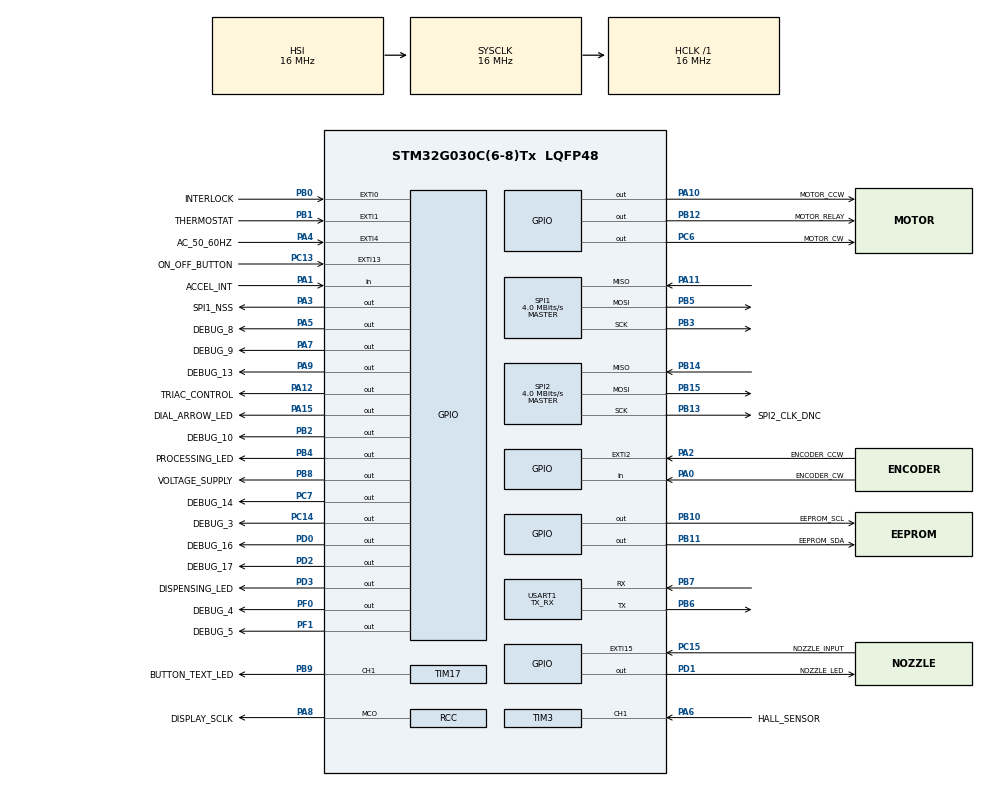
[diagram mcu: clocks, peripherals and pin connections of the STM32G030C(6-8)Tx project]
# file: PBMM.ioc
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Dma.Request0=SPI2_TX
Dma.Request1=SPI1_RX
Dma.Request2=TIM17_UP
Dma.SPI1_RX.1.Direction=DMA_PERIPH_TO_MEMORY
Dma.SPI1_RX.1.EventEnable=DISABLE
Dma.SPI1_RX.1.Instance=DMA1_Channel1
Dma.SPI1_RX.1.MemDataAlignment=DMA_MDATAALIGN_BYTE
Dma.SPI1_RX.1.MemInc=DMA_MINC_ENABLE
Dma.SPI1_RX.1.Mode=DMA_NORMAL
Dma.SPI1_RX.1.PeriphDataAlignment=DMA_PDATAALIGN_BYTE
Dma.SPI1_RX.1.PeriphInc=DMA_PINC_DISABLE
Dma.SPI1_RX.1.Polarity=HAL_DMAMUX_REQ_GEN_RISING
Dma.SPI1_RX.1.Priority=DMA_PRIORITY_LOW
Dma.SPI1_RX.1.RequestNumber=1
Dma.SPI1_RX.1.SignalID=NONE
Dma.SPI1_RX.1.SyncEnable=DISABLE
Dma.SPI1_RX.1.SyncPolarity=HAL_DMAMUX_SYNC_NO_EVENT
Dma.SPI1_RX.1.SyncRequestNumber=1
Dma.SPI1_RX.1.SyncSignalID=NONE
Dma.SPI2_TX.0.Direction=DMA_MEMORY_TO_PERIPH
Dma.SPI2_TX.0.EventEnable=DISABLE
Dma.SPI2_TX.0.Instance=DMA1_Channel2
Dma.SPI2_TX.0.MemDataAlignment=DMA_MDATAALIGN_BYTE
Dma.SPI2_TX.0.MemInc=DMA_MINC_ENABLE
Dma.SPI2_TX.0.Mode=DMA_NORMAL
Dma.SPI2_TX.0.PeriphDataAlignment=DMA_PDATAALIGN_BYTE
Dma.SPI2_TX.0.PeriphInc=DMA_PINC_DISABLE
Dma.SPI2_TX.0.Polarity=HAL_DMAMUX_REQ_GEN_RISING
Dma.SPI2_TX.0.Priority=DMA_PRIORITY_LOW
Dma.SPI2_TX.0.RequestNumber=1
Dma.SPI2_TX.0.SignalID=NONE
Dma.SPI2_TX.0.SyncEnable=DISABLE
Dma.SPI2_TX.0.SyncPolarity=HAL_DMAMUX_SYNC_NO_EVENT
Dma.SPI2_TX.0.SyncRequestNumber=1
Dma.SPI2_TX.0.SyncSignalID=NONE
Dma.TIM17_UP.2.Direction=DMA_MEMORY_TO_PERIPH
Dma.TIM17_UP.2.EventEnable=DISABLE
Dma.TIM17_UP.2.Instance=DMA1_Channel3
Dma.TIM17_UP.2.MemDataAlignment=DMA_MDATAALIGN_BYTE
Dma.TIM17_UP.2.MemInc=DMA_MINC_ENABLE
Dma.TIM17_UP.2.Mode=DMA_CIRCULAR
Dma.TIM17_UP.2.PeriphDataAlignment=DMA_PDATAALIGN_HALFWORD
Dma.TIM17_UP.2.PeriphInc=DMA_PINC_DISABLE
Dma.TIM17_UP.2.Polarity=HAL_DMAMUX_REQ_GEN_RISING
Dma.TIM17_UP.2.Priority=DMA_PRIORITY_LOW
Dma.TIM17_UP.2.RequestNumber=1
Dma.TIM17_UP.2.SignalID=NONE
Dma.TIM17_UP.2.SyncEnable=DISABLE
Dma.TIM17_UP.2.SyncPolarity=HAL_DMAMUX_SYNC_NO_EVENT
Dma.TIM17_UP.2.SyncRequestNumber=1
Dma.TIM17_UP.2.SyncSignalID=NONE
Mcu.Family=STM32G0
Mcu.Name=STM32G030C(6-8)Tx
Mcu.Package=LQFP48
NVIC.DMA1_Channel1_IRQn=true\:0\:0\:false\:false\:true\:true\:true\:true
NVIC.EXTI0_1_IRQn=true\:0\:0\:false\:false\:true\:true\:true\:true
NVIC.EXTI2_3_IRQn=true\:0\:0\:false\:false\:true\:true\:true\:true
NVIC.EXTI4_15_IRQn=true\:0\:0\:false\:false\:true\:true\:true\:true
NVIC.TIM14_IRQn=true\:0\:0\:false\:false\:true\:true\:true\:true
NVIC.USART1_IRQn=true\:0\:0\:false\:false\:true\:true\:true\:true
PA0.GPIO_Label=ENCODER_CW
PA0.Signal=GPIO_Input
PA1.GPIO_Label=ACCEL_INT
PA1.Signal=GPIO_Input
PA10.GPIO_Label=MOTOR_CCW
PA10.Signal=GPIO_Output
PA11\ [PA9].Mode=Full_Duplex_Master
PA11\ [PA9].Signal=SPI1_MISO
PA12\ [PA10].GPIO_Label=TRIAC_CONTROL
PA12\ [PA10].Signal=GPIO_Output
PA13.Mode=Serial_Wire
PA13.Signal=SYS_SWDIO
PA14-BOOT0.Mode=Serial_Wire
PA14-BOOT0.Signal=SYS_SWCLK
PA15.GPIO_Label=DIAL_ARROW_LED
PA15.Signal=GPIO_Output
PA2.GPIO_Label=ENCODER_CCW
PA2.GPIO_ModeDefaultEXTI=GPIO_MODE_IT_RISING_FALLING
PA2.Signal=GPXTI2
PA3.GPIO_Label=SPI1_NSS
PA3.GPIO_Speed=GPIO_SPEED_FREQ_HIGH
PA3.PinState=GPIO_PIN_RESET
PA3.Signal=GPIO_Output
PA4.GPIO_Label=AC_50_60HZ
PA4.GPIO_ModeDefaultEXTI=GPIO_MODE_IT_FALLING
PA4.GPIO_PuPd=GPIO_NOPULL
PA4.Signal=GPXTI4
PA5.GPIO_Label=DEBUG_8
PA5.Signal=GPIO_Output
PA6.GPIO_Label=HALL_SENSOR
PA6.Signal=S_TIM3_CH1
PA7.GPIO_Label=DEBUG_9
PA7.Signal=GPIO_Output
PA8.GPIO_Label=DISPLAY_SCLK
PA8.GPIO_Speed=GPIO_SPEED_FREQ_HIGH
PA8.Mode=Clock-out
PA8.Signal=RCC_MCO
PA9.GPIO_Label=DEBUG_13
PA9.Signal=GPIO_Output
PB0.GPIO_Label=INTERLOCK
PB0.GPIO_ModeDefaultEXTI=GPIO_MODE_IT_RISING_FALLING
PB0.Signal=GPXTI0
PB1.GPIO_Label=THERMOSTAT
PB1.GPIO_ModeDefaultEXTI=GPIO_MODE_IT_RISING
PB1.Signal=GPXTI1
PB10.GPIO_Label=EEPROM_SCL
PB10.Signal=GPIO_Output
PB11.GPIO_Label=EEPROM_SDA
PB11.Signal=GPIO_Output
PB12.GPIO_Label=MOTOR_RELAY
PB12.Signal=GPIO_Output
PB13.GPIO_Label=SPI2_CLK_DNC
PB13.Mode=Full_Duplex_Master
PB13.Signal=SPI2_SCK
PB14.GPIO_PuPd=GPIO_NOPULL
PB14.Mode=Full_Duplex_Master
PB14.Signal=SPI2_MISO
PB15.GPIO_Speed=GPIO_SPEED_FREQ_MEDIUM
PB15.Mode=Full_Duplex_Master
PB15.Signal=SPI2_MOSI
PB2.GPIO_Label=DEBUG_10
PB2.Signal=GPIO_Output
PB3.Mode=Full_Duplex_Master
PB3.Signal=SPI1_SCK
PB4.GPIO_Label=PROCESSING_LED
PB4.Signal=GPIO_Output
PB5.Mode=Full_Duplex_Master
PB5.Signal=SPI1_MOSI
PB6.Mode=Asynchronous
PB6.Signal=USART1_TX
PB7.Mode=Asynchronous
PB7.Signal=USART1_RX
PB8.GPIO_Label=VOLTAGE_SUPPLY
PB8.Signal=GPIO_Output
PB9.GPIO_Label=BUTTON_TEXT_LED
PB9.Signal=S_TIM17_CH1
PC13.GPIO_Label=ON_OFF_BUTTON
PC13.GPIO_ModeDefaultEXTI=GPIO_MODE_IT_FALLING
PC13.Signal=GPXTI13
PC14-OSC32_IN\ (PC14).GPIO_Label=DEBUG_3
PC14-OSC32_IN\ (PC14).Signal=GPIO_Output
PC15-OSC32_OUT\ (PC15).GPIO_Label=NOZZLE_INPUT
PC15-OSC32_OUT\ (PC15).GPIO_ModeDefaultEXTI=GPIO_MODE_IT_RISING_FALLING
PC15-OSC32_OUT\ (PC15).Signal=GPXTI15
PC6.GPIO_Label=MOTOR_CW
PC6.Signal=GPIO_Output
PC7.GPIO_Label=DEBUG_14
PC7.Signal=GPIO_Output
PD0.GPIO_Label=DEBUG_16
PD0.Signal=GPIO_Output
PD1.GPIO_Label=NOZZLE_LED
PD1.Signal=GPIO_Output
PD2.GPIO_Label=DEBUG_17
PD2.Signal=GPIO_Output
PD3.GPIO_Label=DISPENSING_LED
PD3.Signal=GPIO_Output
PF0-OSC_IN\ (PF0).GPIO_Label=DEBUG_4
PF0-OSC_IN\ (PF0).Signal=GPIO_Output
PF1-OSC_OUT\ (PF1).GPIO_Label=DEBUG_5
PF1-OSC_OUT\ (PF1).Signal=GPIO_Output
ProjectManager.HeapSize=0x0
ProjectManager.StackSize=0x200
ProjectManager.TargetToolchain=STM32CubeIDE
RCC.ADCFreq_Value=16000000
RCC.AHBFreq_Value=16000000
RCC.CortexFreq_Value=16000000
RCC.EXTERNAL_CLOCK_VALUE=12288000
RCC.HCLKFreq_Value=16000000
RCC.HSE_VALUE=8000000
RCC.HSI_VALUE=16000000
RCC.LSE_VALUE=32768
RCC.RCC_MCODiv=RCC_MCODIV_8
RCC.SYSCLKFreq_VALUE=16000000
RCC.VCOOutputFreq_Value=128000000
SH.S_TIM17_CH1.0=TIM17_CH1,PWM Generation1 CH1
SH.S_TIM3_CH1.0=TIM3_CH1,TriggerSource_TI1FP1
SPI1.BaudRatePrescaler=SPI_BAUDRATEPRESCALER_4
SPI1.CalculateBaudRate=4.0 MBits/s
SPI1.Direction=SPI_DIRECTION_2LINES
SPI1.Mode=SPI_MODE_MASTER
SPI1.NSSPMode=SPI_NSS_PULSE_DISABLE
SPI1.VirtualType=VM_MASTER
SPI2.BaudRatePrescaler=SPI_BAUDRATEPRESCALER_4
SPI2.CalculateBaudRate=4.0 MBits/s
SPI2.Direction=SPI_DIRECTION_2LINES
SPI2.Mode=SPI_MODE_MASTER
SPI2.NSSPMode=SPI_NSS_PULSE_DISABLE
SPI2.VirtualType=VM_MASTER
TIM1.Channel-Input_Capture1_from_TRC=TIM_CHANNEL_1
TIM1.Prescaler=159
TIM14.Period=199
TIM14.Prescaler=15
TIM17.AutoReloadPreload=TIM_AUTORELOAD_PRELOAD_DISABLE
TIM17.Channel=TIM_CHANNEL_1
TIM17.Period=249
TIM17.Prescaler=15
TIM3.TIM_MasterOutputTrigger=TIM_TRGO_UPDATE
USART1.Mode=MODE_TX_RX
USART1.VirtualMode-Asynchronous=VM_ASYNC
VP_IWDG_VS_IWDG.Mode=IWDG_Activate
VP_TIM14_VS_ClockSourceINT.Mode=Enable_Timer
VP_TIM17_VS_ClockSourceINT.Mode=Enable_Timer
VP_TIM1_VS_CH1.Mode=Input_Capture1_from_TRC
VP_TIM1_VS_ClockSourceINT.Mode=Internal
VP_TIM1_VS_ClockSourceITR.Mode=TriggerSource_ITR2
VP_TIM1_VS_ControllerModeCombinedResetTrigger.Mode=Combined_Reset_Trigger_Mode
VP_TIM1_VS_OPM.Mode=OPM_bit
VP_TIM3_VS_ControllerModeClock.Mode=Clock Mode
board=custom

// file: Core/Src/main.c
/* USER CODE BEGIN Header */
//***************************************************************
//*   Company Name : Simatelex Manufactory Co., Ltd		*
//*   Project Name : 			*
//*   File Name    : main.c				 	*
//*   Author 	   : Yang Wen				        *
//*   Version      : T1.1					*
//*   MCU          : STM32G030C8T6			    	*
//*   Voltage      : 3.3V				   	*
//*   OSC          : On-chip 16MHz				*
//*   WDT          : ENABLE					*
//*   Start Date   : 7-Nov-2023				        *
//*   Last Update  : 04-Jan-2024			        *
//***************************************************************
//* ------------- Software Change List --------------------
//*********************************************************
//* First software version (T1.0)
//* Second software version (T1.1)
//*******************************************************************************************
/**
  ******************************************************************************
  * @file           : main.c
  * @brief          : Main program body
  ******************************************************************************
  * @attention
  *
  * Copyright (c) 2023 STMicroelectronics.
  * All rights reserved.
  *
  * This software is licensed under terms that can be found in the LICENSE file
  * in the root directory of this software component.
  * If no LICENSE file comes with this software, it is provided AS-IS.
  *
  ******************************************************************************
  */
/* USER CODE END Header */
#include "main.h"

/* USER CODE BEGIN Includes */
#include "constant.h"
#include "memory.h"
#include "TLC6983.h"
#include "BMA400.h"
/* USER CODE END Includes */

IWDG_HandleTypeDef hiwdg;

SPI_HandleTypeDef hspi1;
SPI_HandleTypeDef hspi2;
DMA_HandleTypeDef hdma_spi1_rx;
DMA_HandleTypeDef hdma_spi2_tx;

TIM_HandleTypeDef htim1;
TIM_HandleTypeDef htim3;
TIM_HandleTypeDef htim14;
TIM_HandleTypeDef htim17;
DMA_HandleTypeDef hdma_tim17_up;

UART_HandleTypeDef huart1;

/* USER CODE BEGIN PV */
extern const uint16_t PhaseAngle_50Hz_TAB[PHASE_ANGLE_STEPS];
extern const uint16_t PhaseAngle_60Hz_TAB[PHASE_ANGLE_STEPS];
/* USER CODE END PV */

void SystemClock_Config(void);
static void MX_GPIO_Init(void);
static void MX_DMA_Init(void);
static void MX_IWDG_Init(void);
static void MX_SPI2_Init(void);
static void MX_TIM17_Init(void);
static void MX_TIM14_Init(void);
static void MX_USART1_UART_Init(void);
static void MX_SPI1_Init(void);
static void MX_TIM3_Init(void);
static void MX_TIM1_Init(void);
/* USER CODE BEGIN PFP */
void AC_Detect(void);
extern void Read_Key(void);
extern void Check_Nozzle(void);
extern void Check_Interlock(void);
extern void Check_Encoder(void);
extern void Check_Test(void);
extern void Do_Mode(void);
extern void Do_Startup_Mes(void);
extern void showhello(void);
#if (F_DEBUG_EN == 1)
extern void Uart_Debug(void);
#endif
/* USER CODE END PFP */

/* USER CODE BEGIN 0 */
/****************************************************************************
 * Turn on SYS_3.3V and SYS_5V
 * used by dot matrix, accelerometer, thermostat, AC Freq and Hall sensor
 *
 * There is a voltage drop on 3.3V and 5V when turning on the dot matrix
 * Lower the system freq to 1MHz before to avoid flash ECC errors
 * And also wait 20us after turning on before continuing.
 *
 **/
static void Voltage_Supply_Init(void)
{
    // use timer 14 to wait 20us after voltage is turned on
    TIM14->CR1 = 0; // stop timer
    TIM14->PSC = 0; // 1 MHz with low freq system clock
    TIM14->EGR |= TIM_EVENTSOURCE_UPDATE; // to load the new prescaler
    TIM14->CNT = 0;
    TIM14->ARR = 20 - 1;  // 20us
    TIM14->SR = 0;

    // lower system clock and turn voltage on
    SET_BIT(RCC->CR, RCC_HSI_DIV16); // lower system clock to 1 MHz
    VOLTAGE_SUPPLY_ON();
    // wait 20us
    TIM14->CR1 = TIM_CR1_CEN;
    while ((TIM14->SR & TIM_SR_UIF) == 0) ;
    CLEAR_BIT(RCC->CR, RCC_HSI_DIV128);  // restore system clock

    // restore timer 14 settings for AC Freq detection
    TIM14->CR1 = 0;  // stop timer
    TIM14->PSC = 15; // 1 MHz with normal freq system clock
    TIM14->EGR |= TIM_EVENTSOURCE_UPDATE; // to load the new prescaler
    TIM14->CNT = 0;
    TIM14->ARR = 200 - 1; // 200us
    TIM14->SR = 0;
}

void User_Init(void)
{
    F_AC_DETECT = AC_DETECT_NONE;
    F_INTERLOCK_CLOSE = 2;
    F_NOZZLE_CLOSE = 2;
    F_THERMOSTAT_CLOSE = 0;
    F_ENCODER_A_LOW = 2;
    F_ENCODER_B_LOW = 2;
    PID_Kp_CW = C_PID_KP_CW;
    PID_Ki_CW = C_PID_KI_CW;
    PID_Kd_CW = C_PID_KD_CW;
    PID_Kp_CCW = C_PID_KP_CCW;
    PID_Ki_CCW = C_PID_KI_CCW;
    PID_Kd_CCW = C_PID_KD_CCW;
    adjust_time = DEFAULT_BLEND_TIME;  // init blend time
    pour_time = DEFAULT_POUR_TIME;
    motor_phase_angle_table = (uint16_t*)PhaseAngle_50Hz_TAB;

#ifdef F_DEBUG_EN
    uart_tx_cnt = 0;
    uart_rx_cnt = 0;
    F_UART_RX = 0;
    F_UART_TX = 0;
#endif

    mode_cnt = 0;
    mode_sec_cnt = 0;
    breathing_zero_cnt = 0;
    mode = MODE_STARTUP_MES;
}

void Refresh_Control(void)
{
    if(F_MOTOR_RELAY == 1)
    {
        MOTOR_RELAY_ON();
    }
    else
    {
        MOTOR_RELAY_OFF();
    }

    if(F_MOTOR_CW == 1)
    {
        CW_RELAY_ON();
    }
    else
    {
        CW_RELAY_OFF();
    }

    if(F_MOTOR_CCW == 1)
    {
        CCW_RELAY_ON();
    }
    else
    {
        CCW_RELAY_OFF();
    }
    return;
}

//***********************************************************
//* AC frequence detection routine                         **
//* At each zero crossing check 200us counter hz_count,    **
//* then samp_50hz and samp_60hz counters are incremented  **
//* depending on the frequency detected.                   **
//* The final detection checks which of samp_50hz          **
//* and samp_60hz is bigger after a period of 500ms        **
//***********************************************************
void AC_Detect(void)
{
    if (F_AC_DETECT != AC_DETECT_NONE) return;

    ac_base_count++;
    if (ac_base_count >= T_05SEC)  // finish AC frequence detection within 0.5sec
    {
        ac_base_count = 0;
        if (samp_50hz >= 18&&samp_60hz < 21)
        {
            motor_phase_angle_table = (uint16_t*)PhaseAngle_50Hz_TAB; // AC frequency is 50hz
            half_ac_cyc = 9999; // 10 ms
            hz_count = 0;
            F_AC_DETECT = AC_DETECT_50HZ;
            HAL_TIM_Base_Stop_IT(&htim14);
            CLEAR_BIT(EXTI->FTSR1, EXTI_FTSR1_FT4); // disable AC Freq pin interrupt
            HAL_NVIC_DisableIRQ(AC_50_60HZ_EXTI_IRQn);
        }
        else if (samp_60hz >= 21&&samp_50hz < 18)
        {
            motor_phase_angle_table = (uint16_t*)PhaseAngle_60Hz_TAB; // AC frequency is 60hz
            half_ac_cyc = 8332; // 8.333 ms
            hz_count = 0;
            F_AC_DETECT = AC_DETECT_60HZ;
            HAL_TIM_Base_Stop_IT(&htim14);
            CLEAR_BIT(EXTI->FTSR1, EXTI_FTSR1_FT4); // disable AC Freq pin interrupt
            HAL_NVIC_DisableIRQ(AC_50_60HZ_EXTI_IRQn);
        }
        else  // default setting
        {
            samp_50hz = 0;
            samp_60hz = 0;
            hz_count = 0;
        }
    }
    return;
}

/*
 * Init Timers used for motor speed
 * calculation using Hall sensor
 **/
void Motor_Speed_Timer_Init(void)
{
    // Timer 3 is set to use Hall sensor pin as external clock
    // and send a trigger to Timer 1 every set number of turns (set in MotorPIDInit())
    TIM3->CR1 = 0; // stop timer
    TIM3->SMCR |= TIM_TS_TI1FP1 | TIM_SLAVEMODE_EXTERNAL1; // set CH1 (Hall sensor pin) as external clock
    TIM3->CCER |= TIM_TRIGGERPOLARITY_BOTHEDGE; // 1 motor turn has 6 edges
    TIM3->CR2 |= TIM_TRGO_UPDATE;  // set trigger output on overflow
    TIM3->PSC = 0;  // no divide prescaller

    // Timer 1 is set to run at 100000 Hz and capture the time
    // between triggers from Timer 3
    CLEAR_BIT(TIM1->CR1, TIM_CR1_CEN);  // stop timer
    CLEAR_BIT(TIM1->CR1, TIM_CR1_CMS);  // clear CMS
    TIM1->CR1 = 0;                      // clear other bits
    TIM1->SMCR |= TIM_TS_ITR2 | TIM_SLAVEMODE_COMBINED_RESETTRIGGER;  // input trigger from Timer 3 resets timer
    TIM1->CCMR1 |= TIM_ICSELECTION_TRC;  // capture counter on trigger
    TIM1->CCER |= TIM_TRIGGERPOLARITY_RISING | TIM_CCER_CC1E;  // enable capture
    TIM1->PSC = 159; // 100000 Hz
    TIM1->ARR = 0xFFFF;  // set to max
    TIM1->CR1 |= TIM_CR1_OPM; // one pulse mode so if it overflows when the speed is too low the counter will stay at 0

    TIM3->CR1 |= TIM_CR1_CEN;  // start Timer 3
}

/*
 *  Disable unused interrupts
 *  so they don't wake up in sleep mode
 **/
void Sleep_Init(void)
{
    // disable lid/nozzle/button/encoder interrupts
    HAL_NVIC_DisableIRQ(ENCODER_CCW_EXTI_IRQn);
    CLEAR_BIT(EXTI->RTSR1, EXTI_RTSR1_RT0 | EXTI_RTSR1_RT2 | EXTI_RTSR1_RT15); // Interlock, Encoder CCW, Nozzle
    CLEAR_BIT(EXTI->FTSR1, EXTI_FTSR1_FT0 | EXTI_FTSR1_FT2 | EXTI_FTSR1_FT13 | EXTI_FTSR1_FT15); // Interlock, Encoder CCW, Button, Nozzle

    // disable other unused interrupts
    CLEAR_BIT(DMA1_Channel2->CCR, DMA_IT_TC | DMA_IT_HT | DMA_IT_TE);  // channel 2 is for dotmatrix
    CLEAR_BIT(DMA1_Channel3->CCR, DMA_IT_TC | DMA_IT_HT | DMA_IT_TE);  // channel 3 is for button led
    CLEAR_BIT(SPI2->CR2, SPI_CR2_ERRIE);  // spi2 is for dotmatrix
    CLEAR_BIT(EXTI->RTSR1, EXTI_RTSR1_RT1); // Thermostat pin, only used when motor is on
    HAL_NVIC_DisableIRQ(THERMOSTAT_EXTI_IRQn);

    // set breathing speed, period of one step is RCR * ARR / Freq
    TIM17->RCR = 30;  // 400 steps * 30 * 250 / 1MHz = 3s period

    // init led breathing DMA
    DMA1_Channel3->CCR = LL_DMA_PDATAALIGN_HALFWORD | DMA_CCR_DIR | DMA_CCR_CIRC | DMA_CCR_MINC;
    DMA1_Channel3->CPAR = (uint32_t)&(TIM17->CCR1); // destination

    // set periph clocks to stop in sleep mode
    // leave flash, dma and timer 17 for breathing led, timer 14 for watchdog refresh
    RCC->AHBSMENR = RCC_AHBSMENR_FLASHSMEN | RCC_AHBSMENR_DMA1SMEN;
    RCC->APBSMENR1 = 0;
    RCC->APBSMENR2 = RCC_APBSMENR2_TIM17SMEN | RCC_APBSMENR2_TIM14SMEN;
    RCC->IOPSMENR = 0;
}

/* USER CODE END 0 */

int main(void)
{

  /* MCU Configuration--------------------------------------------------------*/

  /* Reset of all peripherals, Initializes the Flash interface and the Systick. */
  HAL_Init();

  /* Configure the system clock */
  SystemClock_Config();

  /* Initialize all configured peripherals */
  MX_GPIO_Init();
  MX_DMA_Init();
  MX_IWDG_Init();
  MX_SPI2_Init();
  MX_TIM17_Init();
  MX_TIM14_Init();
  MX_USART1_UART_Init();
  MX_SPI1_Init();
  MX_TIM3_Init();
  MX_TIM1_Init();
  /* USER CODE BEGIN 2 */
  Voltage_Supply_Init();
  User_Init();
  HAL_TIM_Base_Start_IT(&htim14);             // Timer 14 used for AC freq detection, Triac control and watchdog reset during sleep
  HAL_TIM_PWM_Start(&htim17, TIM_CHANNEL_1);  // Timer 17 used for button led PWM
  Motor_Speed_Timer_Init();                   // Timers 3 and 1 are used for speed measuring using Hall sensor
#ifdef F_DEBUG_EN
  HAL_UART_Receive_IT(&huart1, (uint8_t *)(&uart_rx_data), 1);
#endif
  InitialiseTLC6983();
  Sleep_Init(); // init some registers for sleep mode

  // fade-in startup message, do AC detect and check PCB test mode
  showhello();
  while (mode == MODE_STARTUP_MES)
  {
    CLR_WDT(); // Clear watch-dog
    if (F_TMBASE == 1)
    {
      F_TMBASE = 0;
      Check_Nozzle();
      Check_Interlock();
#ifdef F_PCBA_TEST
      Read_Key();
      Check_Test();
#endif
      Do_Startup_Mes();
      AC_Detect();
#if (F_DEBUG_EN == 1)
      Uart_Debug();
#endif
    }
  }
#ifndef F_VIBRATION_LIMIT_DISABLE
    bma400_init(); // need to be run at least 1ms after Voltage_Supply_Init()
#endif
  /* USER CODE END 2 */

  /* Infinite loop */
  /* USER CODE BEGIN WHILE */
  while (1)
  {
    CLR_WDT();    // Clear watch-dog
    if (F_TMBASE == 1)
    {
      F_TMBASE = 0;
      Check_Nozzle();
      Check_Interlock();  // function also calls Check_Thermostat()
      Check_Encoder();
      Read_Key();
      Do_Mode();
#if (F_DEBUG_EN == 1)
      Uart_Debug();
#endif
    }
    Refresh_Control();
    /* USER CODE END WHILE */

  }
}

void SystemClock_Config(void)
{
  RCC_OscInitTypeDef RCC_OscInitStruct = {0};
  RCC_ClkInitTypeDef RCC_ClkInitStruct = {0};

  /** Configure the main internal regulator output voltage
  */
  HAL_PWREx_ControlVoltageScaling(PWR_REGULATOR_VOLTAGE_SCALE1);

  /** Initializes the RCC Oscillators according to the specified parameters
  * in the RCC_OscInitTypeDef structure.
  */
  RCC_OscInitStruct.OscillatorType = RCC_OSCILLATORTYPE_HSI|RCC_OSCILLATORTYPE_LSI;
  RCC_OscInitStruct.HSIState = RCC_HSI_ON;
  RCC_OscInitStruct.HSIDiv = RCC_HSI_DIV1;
  RCC_OscInitStruct.HSICalibrationValue = RCC_HSICALIBRATION_DEFAULT;
  RCC_OscInitStruct.LSIState = RCC_LSI_ON;
  RCC_OscInitStruct.PLL.PLLState = RCC_PLL_NONE;
  if (HAL_RCC_OscConfig(&RCC_OscInitStruct) != HAL_OK)
  {
    Error_Handler();
  }

  /** Initializes the CPU, AHB and APB buses clocks
  */
  RCC_ClkInitStruct.ClockType = RCC_CLOCKTYPE_HCLK|RCC_CLOCKTYPE_SYSCLK
                              |RCC_CLOCKTYPE_PCLK1;
  RCC_ClkInitStruct.SYSCLKSource = RCC_SYSCLKSOURCE_HSI;
  RCC_ClkInitStruct.AHBCLKDivider = RCC_SYSCLK_DIV1;
  RCC_ClkInitStruct.APB1CLKDivider = RCC_HCLK_DIV1;

  if (HAL_RCC_ClockConfig(&RCC_ClkInitStruct, FLASH_LATENCY_0) != HAL_OK)
  {
    Error_Handler();
  }
  HAL_RCC_MCOConfig(RCC_MCO1, RCC_MCO1SOURCE_SYSCLK, RCC_MCODIV_8);
}

static void MX_IWDG_Init(void)
{

  hiwdg.Instance = IWDG;
  hiwdg.Init.Prescaler = IWDG_PRESCALER_4;
  hiwdg.Init.Window = 4095;
  hiwdg.Init.Reload = 4095;
  if (HAL_IWDG_Init(&hiwdg) != HAL_OK)
  {
    Error_Handler();
  }

}

static void MX_SPI1_Init(void)
{

  /* SPI1 parameter configuration*/
  hspi1.Instance = SPI1;
  hspi1.Init.Mode = SPI_MODE_MASTER;
  hspi1.Init.Direction = SPI_DIRECTION_2LINES;
  hspi1.Init.DataSize = SPI_DATASIZE_8BIT;
  hspi1.Init.CLKPolarity = SPI_POLARITY_LOW;
  hspi1.Init.CLKPhase = SPI_PHASE_1EDGE;
  hspi1.Init.NSS = SPI_NSS_SOFT;
  hspi1.Init.BaudRatePrescaler = SPI_BAUDRATEPRESCALER_4;
  hspi1.Init.FirstBit = SPI_FIRSTBIT_MSB;
  hspi1.Init.TIMode = SPI_TIMODE_DISABLE;
  hspi1.Init.CRCCalculation = SPI_CRCCALCULATION_DISABLE;
  hspi1.Init.CRCPolynomial = 7;
  hspi1.Init.CRCLength = SPI_CRC_LENGTH_DATASIZE;
  hspi1.Init.NSSPMode = SPI_NSS_PULSE_DISABLE;
  if (HAL_SPI_Init(&hspi1) != HAL_OK)
  {
    Error_Handler();
  }

}

static void MX_SPI2_Init(void)
{

  /* SPI2 parameter configuration*/
  hspi2.Instance = SPI2;
  hspi2.Init.Mode = SPI_MODE_MASTER;
  hspi2.Init.Direction = SPI_DIRECTION_2LINES;
  hspi2.Init.DataSize = SPI_DATASIZE_8BIT;
  hspi2.Init.CLKPolarity = SPI_POLARITY_LOW;
  hspi2.Init.CLKPhase = SPI_PHASE_1EDGE;
  hspi2.Init.NSS = SPI_NSS_SOFT;
  hspi2.Init.BaudRatePrescaler = SPI_BAUDRATEPRESCALER_4;
  hspi2.Init.FirstBit = SPI_FIRSTBIT_MSB;
  hspi2.Init.TIMode = SPI_TIMODE_DISABLE;
  hspi2.Init.CRCCalculation = SPI_CRCCALCULATION_DISABLE;
  hspi2.Init.CRCPolynomial = 7;
  hspi2.Init.CRCLength = SPI_CRC_LENGTH_DATASIZE;
  hspi2.Init.NSSPMode = SPI_NSS_PULSE_DISABLE;
  if (HAL_SPI_Init(&hspi2) != HAL_OK)
  {
    Error_Handler();
  }

}

static void MX_TIM1_Init(void)
{

  TIM_ClockConfigTypeDef sClockSourceConfig = {0};
  TIM_SlaveConfigTypeDef sSlaveConfig = {0};
  TIM_MasterConfigTypeDef sMasterConfig = {0};
  TIM_IC_InitTypeDef sConfigIC = {0};

  htim1.Instance = TIM1;
  htim1.Init.Prescaler = 159;
  htim1.Init.CounterMode = TIM_COUNTERMODE_UP;
  htim1.Init.Period = 65535;
  htim1.Init.ClockDivision = TIM_CLOCKDIVISION_DIV1;
  htim1.Init.RepetitionCounter = 0;
  htim1.Init.AutoReloadPreload = TIM_AUTORELOAD_PRELOAD_DISABLE;
  if (HAL_TIM_Base_Init(&htim1) != HAL_OK)
  {
    Error_Handler();
  }
  sClockSourceConfig.ClockSource = TIM_CLOCKSOURCE_INTERNAL;
  if (HAL_TIM_ConfigClockSource(&htim1, &sClockSourceConfig) != HAL_OK)
  {
    Error_Handler();
  }
  if (HAL_TIM_IC_Init(&htim1) != HAL_OK)
  {
    Error_Handler();
  }
  if (HAL_TIM_OnePulse_Init(&htim1, TIM_OPMODE_SINGLE) != HAL_OK)
  {
    Error_Handler();
  }
  sSlaveConfig.SlaveMode = TIM_SLAVEMODE_COMBINED_RESETTRIGGER;
  sSlaveConfig.InputTrigger = TIM_TS_ITR2;
  if (HAL_TIM_SlaveConfigSynchro(&htim1, &sSlaveConfig) != HAL_OK)
  {
    Error_Handler();
  }
  sMasterConfig.MasterOutputTrigger = TIM_TRGO_RESET;
  sMasterConfig.MasterOutputTrigger2 = TIM_TRGO2_RESET;
  sMasterConfig.MasterSlaveMode = TIM_MASTERSLAVEMODE_DISABLE;
  if (HAL_TIMEx_MasterConfigSynchronization(&htim1, &sMasterConfig) != HAL_OK)
  {
    Error_Handler();
  }
  sConfigIC.ICPolarity = TIM_INPUTCHANNELPOLARITY_RISING;
  sConfigIC.ICSelection = TIM_ICSELECTION_TRC;
  sConfigIC.ICPrescaler = TIM_ICPSC_DIV1;
  sConfigIC.ICFilter = 0;
  if (HAL_TIM_IC_ConfigChannel(&htim1, &sConfigIC, TIM_CHANNEL_1) != HAL_OK)
  {
    Error_Handler();
  }

}

static void MX_TIM3_Init(void)
{

  TIM_SlaveConfigTypeDef sSlaveConfig = {0};
  TIM_MasterConfigTypeDef sMasterConfig = {0};

  htim3.Instance = TIM3;
  htim3.Init.Prescaler = 0;
  htim3.Init.CounterMode = TIM_COUNTERMODE_UP;
  htim3.Init.Period = 65535;
  htim3.Init.ClockDivision = TIM_CLOCKDIVISION_DIV1;
  htim3.Init.AutoReloadPreload = TIM_AUTORELOAD_PRELOAD_DISABLE;
  if (HAL_TIM_Base_Init(&htim3) != HAL_OK)
  {
    Error_Handler();
  }
  sSlaveConfig.SlaveMode = TIM_SLAVEMODE_EXTERNAL1;
  sSlaveConfig.InputTrigger = TIM_TS_TI1FP1;
  sSlaveConfig.TriggerPolarity = TIM_TRIGGERPOLARITY_RISING;
  sSlaveConfig.TriggerFilter = 0;
  if (HAL_TIM_SlaveConfigSynchro(&htim3, &sSlaveConfig) != HAL_OK)
  {
    Error_Handler();
  }
  sMasterConfig.MasterOutputTrigger = TIM_TRGO_UPDATE;
  sMasterConfig.MasterSlaveMode = TIM_MASTERSLAVEMODE_DISABLE;
  if (HAL_TIMEx_MasterConfigSynchronization(&htim3, &sMasterConfig) != HAL_OK)
  {
    Error_Handler();
  }

}

static void MX_TIM14_Init(void)
{

  htim14.Instance = TIM14;
  htim14.Init.Prescaler = 15;
  htim14.Init.CounterMode = TIM_COUNTERMODE_UP;
  htim14.Init.Period = 199;
  htim14.Init.ClockDivision = TIM_CLOCKDIVISION_DIV1;
  htim14.Init.AutoReloadPreload = TIM_AUTORELOAD_PRELOAD_DISABLE;
  if (HAL_TIM_Base_Init(&htim14) != HAL_OK)
  {
    Error_Handler();
  }

}

static void MX_TIM17_Init(void)
{

  TIM_OC_InitTypeDef sConfigOC = {0};
  TIM_BreakDeadTimeConfigTypeDef sBreakDeadTimeConfig = {0};

  htim17.Instance = TIM17;
  htim17.Init.Prescaler = 15;
  htim17.Init.CounterMode = TIM_COUNTERMODE_UP;
  htim17.Init.Period = 249;
  htim17.Init.ClockDivision = TIM_CLOCKDIVISION_DIV1;
  htim17.Init.RepetitionCounter = 0;
  htim17.Init.AutoReloadPreload = TIM_AUTORELOAD_PRELOAD_DISABLE;
  if (HAL_TIM_Base_Init(&htim17) != HAL_OK)
  {
    Error_Handler();
  }
  if (HAL_TIM_PWM_Init(&htim17) != HAL_OK)
  {
    Error_Handler();
  }
  sConfigOC.OCMode = TIM_OCMODE_PWM1;
  sConfigOC.Pulse = 0;
  sConfigOC.OCPolarity = TIM_OCPOLARITY_HIGH;
  sConfigOC.OCNPolarity = TIM_OCNPOLARITY_HIGH;
  sConfigOC.OCFastMode = TIM_OCFAST_DISABLE;
  sConfigOC.OCIdleState = TIM_OCIDLESTATE_RESET;
  sConfigOC.OCNIdleState = TIM_OCNIDLESTATE_RESET;
  if (HAL_TIM_PWM_ConfigChannel(&htim17, &sConfigOC, TIM_CHANNEL_1) != HAL_OK)
  {
    Error_Handler();
  }
  sBreakDeadTimeConfig.OffStateRunMode = TIM_OSSR_DISABLE;
  sBreakDeadTimeConfig.OffStateIDLEMode = TIM_OSSI_DISABLE;
  sBreakDeadTimeConfig.LockLevel = TIM_LOCKLEVEL_OFF;
  sBreakDeadTimeConfig.DeadTime = 0;
  sBreakDeadTimeConfig.BreakState = TIM_BREAK_DISABLE;
  sBreakDeadTimeConfig.BreakPolarity = TIM_BREAKPOLARITY_HIGH;
  sBreakDeadTimeConfig.BreakFilter = 0;
  sBreakDeadTimeConfig.AutomaticOutput = TIM_AUTOMATICOUTPUT_DISABLE;
  if (HAL_TIMEx_ConfigBreakDeadTime(&htim17, &sBreakDeadTimeConfig) != HAL_OK)
  {
    Error_Handler();
  }
  HAL_TIM_MspPostInit(&htim17);

}

static void MX_USART1_UART_Init(void)
{

  /* USER CODE BEGIN USART1_Init 0 */
#ifdef F_DEBUG_EN
  /* USER CODE END USART1_Init 0 */

  huart1.Instance = USART1;
  huart1.Init.BaudRate = 115200;
  huart1.Init.WordLength = UART_WORDLENGTH_8B;
  huart1.Init.StopBits = UART_STOPBITS_1;
  huart1.Init.Parity = UART_PARITY_NONE;
  huart1.Init.Mode = UART_MODE_TX_RX;
  huart1.Init.HwFlowCtl = UART_HWCONTROL_NONE;
  huart1.Init.OverSampling = UART_OVERSAMPLING_16;
  huart1.Init.OneBitSampling = UART_ONE_BIT_SAMPLE_DISABLE;
  huart1.Init.ClockPrescaler = UART_PRESCALER_DIV1;
  huart1.AdvancedInit.AdvFeatureInit = UART_ADVFEATURE_NO_INIT;
  if (HAL_UART_Init(&huart1) != HAL_OK)
  {
    Error_Handler();
  }
  if (HAL_UARTEx_SetTxFifoThreshold(&huart1, UART_TXFIFO_THRESHOLD_1_8) != HAL_OK)
  {
    Error_Handler();
  }
  if (HAL_UARTEx_SetRxFifoThreshold(&huart1, UART_RXFIFO_THRESHOLD_1_8) != HAL_OK)
  {
    Error_Handler();
  }
  if (HAL_UARTEx_DisableFifoMode(&huart1) != HAL_OK)
  {
    Error_Handler();
  }
  /* USER CODE BEGIN USART1_Init 2 */
#endif
  /* USER CODE END USART1_Init 2 */

}

static void MX_DMA_Init(void)
{

  /* DMA controller clock enable */
  __HAL_RCC_DMA1_CLK_ENABLE();

  /* DMA interrupt init */
  /* DMA1_Channel1_IRQn interrupt configuration */
  HAL_NVIC_SetPriority(DMA1_Channel1_IRQn, 0, 0);
  HAL_NVIC_EnableIRQ(DMA1_Channel1_IRQn);

}

static void MX_GPIO_Init(void)
{
  GPIO_InitTypeDef GPIO_InitStruct = {0};

  /* GPIO Ports Clock Enable */
  __HAL_RCC_GPIOC_CLK_ENABLE();
  __HAL_RCC_GPIOF_CLK_ENABLE();
  __HAL_RCC_GPIOA_CLK_ENABLE();
  __HAL_RCC_GPIOB_CLK_ENABLE();
  __HAL_RCC_GPIOD_CLK_ENABLE();

  /*Configure GPIO pin Output Level */
  HAL_GPIO_WritePin(GPIOC, DEBUG_3_Pin|MOTOR_CW_Pin|DEBUG_14_Pin, GPIO_PIN_RESET);

  /*Configure GPIO pin Output Level */
  HAL_GPIO_WritePin(GPIOF, DEBUG_4_Pin|DEBUG_5_Pin, GPIO_PIN_RESET);

  /*Configure GPIO pin Output Level */
  HAL_GPIO_WritePin(GPIOA, SPI1_NSS_Pin|DEBUG_8_Pin|DEBUG_9_Pin|DEBUG_13_Pin
                          |MOTOR_CCW_Pin|TRIAC_CONTROL_Pin|DIAL_ARROW_LED_Pin, GPIO_PIN_RESET);

  /*Configure GPIO pin Output Level */
  HAL_GPIO_WritePin(GPIOB, DEBUG_10_Pin|EEPROM_SCL_Pin|EEPROM_SDA_Pin|MOTOR_RELAY_Pin
                          |PROCESSING_LED_Pin|VOLTAGE_SUPPLY_Pin, GPIO_PIN_RESET);

  /*Configure GPIO pin Output Level */
  HAL_GPIO_WritePin(GPIOD, DEBUG_16_Pin|NOZZLE_LED_Pin|DEBUG_17_Pin|DISPENSING_LED_Pin, GPIO_PIN_RESET);

  /*Configure GPIO pin : ON_OFF_BUTTON_Pin */
  GPIO_InitStruct.Pin = ON_OFF_BUTTON_Pin;
  GPIO_InitStruct.Mode = GPIO_MODE_IT_FALLING;
  GPIO_InitStruct.Pull = GPIO_NOPULL;
  HAL_GPIO_Init(ON_OFF_BUTTON_GPIO_Port, &GPIO_InitStruct);

  /*Configure GPIO pins : DEBUG_3_Pin MOTOR_CW_Pin DEBUG_14_Pin */
  GPIO_InitStruct.Pin = DEBUG_3_Pin|MOTOR_CW_Pin|DEBUG_14_Pin;
  GPIO_InitStruct.Mode = GPIO_MODE_OUTPUT_PP;
  GPIO_InitStruct.Pull = GPIO_NOPULL;
  GPIO_InitStruct.Speed = GPIO_SPEED_FREQ_LOW;
  HAL_GPIO_Init(GPIOC, &GPIO_InitStruct);

  /*Configure GPIO pin : NOZZLE_INPUT_Pin */
  GPIO_InitStruct.Pin = NOZZLE_INPUT_Pin;
  GPIO_InitStruct.Mode = GPIO_MODE_IT_RISING_FALLING;
  GPIO_InitStruct.Pull = GPIO_NOPULL;
  HAL_GPIO_Init(NOZZLE_INPUT_GPIO_Port, &GPIO_InitStruct);

  /*Configure GPIO pins : DEBUG_4_Pin DEBUG_5_Pin */
  GPIO_InitStruct.Pin = DEBUG_4_Pin|DEBUG_5_Pin;
  GPIO_InitStruct.Mode = GPIO_MODE_OUTPUT_PP;
  GPIO_InitStruct.Pull = GPIO_NOPULL;
  GPIO_InitStruct.Speed = GPIO_SPEED_FREQ_LOW;
  HAL_GPIO_Init(GPIOF, &GPIO_InitStruct);

  /*Configure GPIO pins : ENCODER_CW_Pin ACCEL_INT_Pin */
  GPIO_InitStruct.Pin = ENCODER_CW_Pin|ACCEL_INT_Pin;
  GPIO_InitStruct.Mode = GPIO_MODE_INPUT;
  GPIO_InitStruct.Pull = GPIO_NOPULL;
  HAL_GPIO_Init(GPIOA, &GPIO_InitStruct);

  /*Configure GPIO pin : ENCODER_CCW_Pin */
  GPIO_InitStruct.Pin = ENCODER_CCW_Pin;
  GPIO_InitStruct.Mode = GPIO_MODE_IT_RISING_FALLING;
  GPIO_InitStruct.Pull = GPIO_NOPULL;
  HAL_GPIO_Init(ENCODER_CCW_GPIO_Port, &GPIO_InitStruct);

  /*Configure GPIO pin : SPI1_NSS_Pin */
  GPIO_InitStruct.Pin = SPI1_NSS_Pin;
  GPIO_InitStruct.Mode = GPIO_MODE_OUTPUT_PP;
  GPIO_InitStruct.Pull = GPIO_NOPULL;
  GPIO_InitStruct.Speed = GPIO_SPEED_FREQ_HIGH;
  HAL_GPIO_Init(SPI1_NSS_GPIO_Port, &GPIO_InitStruct);

  /*Configure GPIO pin : AC_50_60HZ_Pin */
  GPIO_InitStruct.Pin = AC_50_60HZ_Pin;
  GPIO_InitStruct.Mode = GPIO_MODE_IT_FALLING;
  GPIO_InitStruct.Pull = GPIO_NOPULL;
  HAL_GPIO_Init(AC_50_60HZ_GPIO_Port, &GPIO_InitStruct);

  /*Configure GPIO pins : DEBUG_8_Pin DEBUG_9_Pin DEBUG_13_Pin MOTOR_CCW_Pin
                           TRIAC_CONTROL_Pin DIAL_ARROW_LED_Pin */
  GPIO_InitStruct.Pin = DEBUG_8_Pin|DEBUG_9_Pin|DEBUG_13_Pin|MOTOR_CCW_Pin
                          |TRIAC_CONTROL_Pin|DIAL_ARROW_LED_Pin;
  GPIO_InitStruct.Mode = GPIO_MODE_OUTPUT_PP;
  GPIO_InitStruct.Pull = GPIO_NOPULL;
  GPIO_InitStruct.Speed = GPIO_SPEED_FREQ_LOW;
  HAL_GPIO_Init(GPIOA, &GPIO_InitStruct);

  /*Configure GPIO pin : INTERLOCK_Pin */
  GPIO_InitStruct.Pin = INTERLOCK_Pin;
  GPIO_InitStruct.Mode = GPIO_MODE_IT_RISING_FALLING;
  GPIO_InitStruct.Pull = GPIO_NOPULL;
  HAL_GPIO_Init(INTERLOCK_GPIO_Port, &GPIO_InitStruct);

  /*Configure GPIO pin : THERMOSTAT_Pin */
  GPIO_InitStruct.Pin = THERMOSTAT_Pin;
  GPIO_InitStruct.Mode = GPIO_MODE_IT_RISING;
  GPIO_InitStruct.Pull = GPIO_NOPULL;
  HAL_GPIO_Init(THERMOSTAT_GPIO_Port, &GPIO_InitStruct);

  /*Configure GPIO pins : DEBUG_10_Pin EEPROM_SCL_Pin EEPROM_SDA_Pin MOTOR_RELAY_Pin
                           PROCESSING_LED_Pin VOLTAGE_SUPPLY_Pin */
  GPIO_InitStruct.Pin = DEBUG_10_Pin|EEPROM_SCL_Pin|EEPROM_SDA_Pin|MOTOR_RELAY_Pin
                          |PROCESSING_LED_Pin|VOLTAGE_SUPPLY_Pin;
  GPIO_InitStruct.Mode = GPIO_MODE_OUTPUT_PP;
  GPIO_InitStruct.Pull = GPIO_NOPULL;
  GPIO_InitStruct.Speed = GPIO_SPEED_FREQ_LOW;
  HAL_GPIO_Init(GPIOB, &GPIO_InitStruct);

  /*Configure GPIO pin : DISPLAY_SCLK_Pin */
  GPIO_InitStruct.Pin = DISPLAY_SCLK_Pin;
  GPIO_InitStruct.Mode = GPIO_MODE_AF_PP;
  GPIO_InitStruct.Pull = GPIO_NOPULL;
  GPIO_InitStruct.Speed = GPIO_SPEED_FREQ_HIGH;
  GPIO_InitStruct.Alternate = GPIO_AF0_MCO;
  HAL_GPIO_Init(DISPLAY_SCLK_GPIO_Port, &GPIO_InitStruct);

  /*Configure GPIO pins : DEBUG_16_Pin NOZZLE_LED_Pin DEBUG_17_Pin DISPENSING_LED_Pin */
  GPIO_InitStruct.Pin = DEBUG_16_Pin|NOZZLE_LED_Pin|DEBUG_17_Pin|DISPENSING_LED_Pin;
  GPIO_InitStruct.Mode = GPIO_MODE_OUTPUT_PP;
  GPIO_InitStruct.Pull = GPIO_NOPULL;
  GPIO_InitStruct.Speed = GPIO_SPEED_FREQ_LOW;
  HAL_GPIO_Init(GPIOD, &GPIO_InitStruct);

  /* EXTI interrupt init*/
  HAL_NVIC_SetPriority(EXTI0_1_IRQn, 0, 0);
  HAL_NVIC_EnableIRQ(EXTI0_1_IRQn);

  HAL_NVIC_SetPriority(EXTI2_3_IRQn, 0, 0);
  HAL_NVIC_EnableIRQ(EXTI2_3_IRQn);

  HAL_NVIC_SetPriority(EXTI4_15_IRQn, 0, 0);
  HAL_NVIC_EnableIRQ(EXTI4_15_IRQn);

}

/* USER CODE BEGIN 4 */

/*
 *  Wake up if lid/nozzle or button are closed
 *  otherwise go back to sleep after ISR return
 **/
void Sleep_Wake_Up(void)
{
    if (TIM14->CR1 & TIM_CR1_CEN && TIM14->PSC == 999) // timer is in sleep wake-up config
    {
        CLR_WDT();
        TIM14->CNT = 0;            // use timer 14 to wait 2ms
        while (TIM14->CNT < 2) ;   // to give time for GPIO registers to be ready
    }
#ifdef F_FW_VERSION_DISPLAY
    if (NOZZLE_PIN_STATUS() == 0 || INTERLOCK_PIN_STATUS() == 1 || ONOFF_KEY_PIN_STATUS() == 1)
#else
    if (NOZZLE_PIN_STATUS() == 0 || INTERLOCK_PIN_STATUS() == 1)
#endif
    {
        CLEAR_BIT(SCB->SCR, SCB_SCR_SLEEPONEXIT_Msk);
    }
}

void HAL_GPIO_EXTI_Falling_Callback(uint16_t GPIO_Pin)
{
    if (GPIO_Pin == AC_50_60HZ_Pin)  // 50/60Hz interrupt
    {
        if (F_PASS_GUARD == 1) // pass guard time => this is valid zero crossing interrupt
        {
            F_PASS_GUARD = 0;
            ac_guard_cnt = 0;

            if (F_AC_DETECT != AC_DETECT_NONE)
            {
                if (F_MOTOR_TRIAC == 1)
                {
                    pulse_step = 0;
                    Motor_PhaseAngle = Motor_PhaseAngle_Cmd; // only apply new phase angle values
                    Triac_Pulse_Time = Triac_Pulse_Time_Cmd; // on begining of the cycle
                    TIM14->ARR = Motor_PhaseAngle; // set reload value
                    TIM14->SR = 0; // Clear the pending interrupt flag
                    TIM14->CNT = 0; // Reset the reload counter
                    TIM14->DIER = TIM_IT_UPDATE; // Enable the timer interrupt
                    TIM14->CR1 = TIM_CR1_CEN; // start timer
                    hz_count++;  // used to detect if AC signal is lost
                }
            }
            else
            {
                if (hz_count < 91)         // 91 * 0.2=18.2ms -> 55Hz
                {
                    if (hz_count >= 77)    // 77*0.2ms=15.4ms -> 65Hz
                    {
                        samp_60hz++;
                    }
                }
                else if (hz_count <= 110)  // 110*0.2ms=22ms -> 45.5Hz
                {
                    samp_50hz++;
                }
                hz_count = 0;
            }
        }
    }
    else if (GPIO_Pin == INTERLOCK_Pin || GPIO_Pin == NOZZLE_INPUT_Pin || GPIO_Pin == ENCODER_CCW_Pin || GPIO_Pin == ON_OFF_BUTTON_Pin)
    {
        Sleep_Wake_Up();
    }
}

void HAL_GPIO_EXTI_Rising_Callback(uint16_t GPIO_Pin)
{
    if (GPIO_Pin == THERMOSTAT_Pin)
    {
        thermostat_pulse_cnt++;
    }
    else if (GPIO_Pin == INTERLOCK_Pin || GPIO_Pin == NOZZLE_INPUT_Pin || GPIO_Pin == ENCODER_CCW_Pin)
    {
        Sleep_Wake_Up();
    }
}

void HAL_SYSTICK_Callback(void)
{
    ms_cnt++;
    if (ms_cnt == 4)
    {
        F_TMBASE = 1;
        check_thermostat_cnt++;
        PID_Time++;
    }
    else if ((ms_cnt == 2 || ms_cnt == 6) && TLC6983Enabled && SRAMbuffer0Complete == 0 && hspi2.hdmatx->Instance->CNDTR == 0 && (SPI2->SR & SPI_SR_FTLVL) == 0)
    {
        dotmatrix_brighness_update(); // update dot matrix brightness every 4ms, but not at the same time as SRAM/Vsync
    }
    else if (ms_cnt >= 8)
    {
        ms_cnt = 0;
        F_TMBASE = 1;
        check_thermostat_cnt++;
        PID_Time++;
        if (TLC6983Enabled && hspi2.hdmatx->Instance->CNDTR == 0 && (SPI2->SR & SPI_SR_FTLVL) == 0)
        {
            // SPI TX DMA ready to be reloaded
            // reload DMA manually
            if (SRAMbuffer0Complete)
            {
                CLEAR_BIT(hspi2.hdmatx->Instance->CCR, DMA_CCR_EN);
                CLEAR_BIT(SPI2->CR2, SPI_CR2_TXDMAEN);
                hspi2.hdmatx->Instance->CNDTR = SRAMbuffer0Length;
                hspi2.hdmatx->Instance->CMAR = (uint32_t)SRAMbuffer0;
                SET_BIT(hspi2.hdmatx->Instance->CCR, DMA_CCR_EN);
                SET_BIT(SPI2->CR2, SPI_CR2_TXDMAEN);
                SRAMbuffer0Complete--;
            }
            else
            {
                CLEAR_BIT(hspi2.hdmatx->Instance->CCR, DMA_CCR_EN);
                CLEAR_BIT(SPI2->CR2, SPI_CR2_TXDMAEN);
                hspi2.hdmatx->Instance->CNDTR = VSyncBufferLength;
                hspi2.hdmatx->Instance->CMAR = (uint32_t)VsyncBuffer;
                SET_BIT(hspi2.hdmatx->Instance->CCR, DMA_CCR_EN);
                SET_BIT(SPI2->CR2, SPI_CR2_TXDMAEN);
                VSyncBufferSent = 1;
            }
        }
    }
    if (F_PASS_GUARD == 0)
    {
        ac_guard_cnt++;
        if (ac_guard_cnt >= 14)   // guard time: 1ms*14=14ms
        {
            ac_guard_cnt = 0;
            F_PASS_GUARD = 1;  // set pass guard time flag
        }
    }
}

/*
 * Timer 14 used for AC Frequency detection
 * then for Triac control.
 * This function is called from TIM14_IRQHandler()
 **/
void Timer14_Elapsed(void)
{
    if (TIM14->SR & TIM_FLAG_UPDATE)
    {
        TIM14->SR = 0; // clear interrupt flag
        if (F_MOTOR_TRIAC == 1)  // Triac control
        {
            switch (pulse_step)
            {
            case 0:  // 1st pulse Triac after phase angle delay on first half period
            case 2:  // 2nd pulse Triac after phase angle delay on second half period
                MOTOR_TRIAC_ON();
                TIM14->ARR = Triac_Pulse_Time;
                pulse_step++;
                break;
            case 1:  // end triac first pulse and wait for the next pulse on the second half period
                MOTOR_TRIAC_OFF();
                TIM14->ARR = (half_ac_cyc - (Motor_PhaseAngle + Triac_Pulse_Time) + Motor_PhaseAngle_Cmd);
                Motor_PhaseAngle = Motor_PhaseAngle_Cmd; // apply new phase angle values
                Triac_Pulse_Time = Triac_Pulse_Time_Cmd; // for next cycle
                pulse_step++;
                break;
            case 3:  // end triac second pulse and stop timer
                MOTOR_TRIAC_OFF();
                TIM14->DIER = 0;  // disable interrupt
                TIM14->CR1 = 0;   // stop timer
                break;
            }
        }
        else if (F_AC_DETECT == AC_DETECT_NONE)  // 200us timer for AC freq detection
        {
            hz_count++;
        }
        else if (mode == MODE_SLEEP)  // refresh watchdog in sleep mode
        {
            CLR_WDT();
            // check lid and nozzle status if sleep was not caused by timeout
            if (timed_out_sleep == 0 && (NOZZLE_PIN_STATUS() == 0 || INTERLOCK_PIN_STATUS() == 1))
            {
                CLEAR_BIT(SCB->SCR, SCB_SCR_SLEEPONEXIT_Msk);
            }
        }
    }
}
/* USER CODE END 4 */

void Error_Handler(void)
{
  __disable_irq();
  while (1)
  {
  }
}
